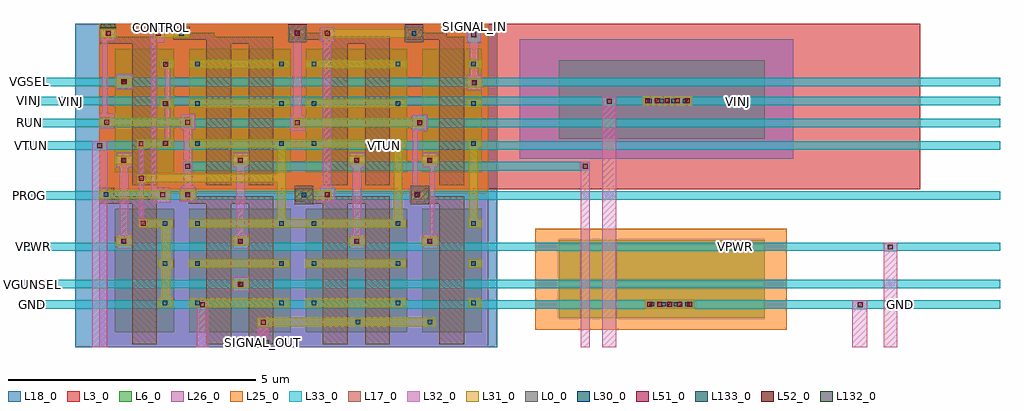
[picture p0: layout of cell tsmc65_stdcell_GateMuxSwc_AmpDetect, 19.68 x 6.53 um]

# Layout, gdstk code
import gdstk
lib = gdstk.Library(unit=1e-6, precision=1e-09)
def R(c, l, rs):  # rectangles x0, y0, x1, y1
    for r in rs: c.add(gdstk.rectangle(r[:2], r[2:], *l))
def A(c, l, x, y, w, h, nx, ny, dx, dy):  # array of equal rectangles
    R(c, l, [(x+i*dx, y+j*dy, x+i*dx+w, y+j*dy+h) for i in range(nx) for j in range(ny)])
L0_0 = (0, 0)
L3_0 = (3, 0)
L6_0 = (6, 0)
L17_0 = (17, 0)
L18_0 = (18, 0)
L25_0 = (25, 0)
L26_0 = (26, 0)
L30_0 = (30, 0)
L31_0 = (31, 0)
L32_0 = (32, 0)
L33_0 = (33, 0)
L51_0 = (51, 0)
L52_0 = (52, 0)
L132_0 = (132, 0)
L133_0 = (133, 0)

m2_m1_cdns_668273743560 = lib.new_cell('M2_M1_CDNS_668273743560')
R(m2_m1_cdns_668273743560, L31_0, [(-0.09,-0.09,0.09,0.09)])
R(m2_m1_cdns_668273743560, L32_0, [(-0.09,-0.09,0.09,0.09)])
R(m2_m1_cdns_668273743560, L51_0, [(-0.05,-0.05,0.05,0.05)])

tsmc65_stdcell_gatemuxsw = lib.new_cell('tsmc65_stdcell_GateMuxSwc_alt')
R(tsmc65_stdcell_gatemuxsw, L0_0, [(3.94,2.89,4.31,3.26), (6.28,2.89,6.65,3.26), (3.81,6.15,4.18,6.52), (6.16,6.15,6.53,6.52)])
R(tsmc65_stdcell_gatemuxsw, L3_0, [(0,3.19,8.02,6.53)])
R(tsmc65_stdcell_gatemuxsw, L6_0, [(0.31,0.31,1.51,2.8), (1.81,0.31,3.86,2.8), (4.16,0.31,6.21,2.8), (6.51,0.31,7.71,2.8), (0.31,3.53,1.51,6.02), (1.81,3.53,3.86,6.02), (4.16,3.53,6.21,6.02), (6.51,3.53,7.71,6.02)])
A(tsmc65_stdcell_gatemuxsw, L17_0, 1.62, 3.05, 0.33, 0.16, 3, 1, 2.34, 0)
R(tsmc65_stdcell_gatemuxsw, L17_0, [(0.66,0.06,1.16,2.9), (2.16,0.06,2.66,2.9), (3.01,0.06,3.51,2.9), (4.51,0.06,5.01,2.9), (5.36,0.06,5.86,2.9), (6.86,0.06,7.36,2.9), (0,2.9,1.16,2.95), (1.8,2.9,3.51,2.94), (4.15,2.9,5.86,2.94), (6.5,2.9,7.36,2.94), (1.62,2.94,3.51,3.05), (3.96,2.94,5.86,3.05), (6.3,2.94,7.36,3.05), (0,2.95,1.16,3.05), (0,3.05,0.3,3.22), (0.66,3.27,1.16,6.12), (2.16,3.27,2.66,6.12), (3.01,3.27,3.51,6.12), (4.51,3.27,5.01,6.12), (5.36,3.27,5.86,6.12), (6.86,3.27,7.36,6.12), (0.015,6.12,1.16,6.27), (2.16,6.12,3.51,6.2), (4.51,6.12,5.86,6.2), (6.86,6.12,7.36,6.2), (1.49,6.2,3.51,6.27), (3.83,6.2,5.86,6.27), (6.18,6.2,7.36,6.27), (0.015,6.27,0.345,6.47), (1.49,6.27,2.32,6.35), (3.83,6.27,4.66,6.35), (6.18,6.27,7.01,6.35), (1.49,6.35,1.82,6.47), (3.83,6.35,4.16,6.47), (6.18,6.35,6.51,6.47)])
R(tsmc65_stdcell_gatemuxsw, L18_0, [(0,0,8.02,6.53)])
R(tsmc65_stdcell_gatemuxsw, L25_0, [(0,3.11,7.84,6.53)])
R(tsmc65_stdcell_gatemuxsw, L26_0, [(0,0,7.84,3.11)])
A(tsmc65_stdcell_gatemuxsw, L30_0, 6.62, 0.47, 0.09, 0.09, 1, 3, 0, 1.63)
A(tsmc65_stdcell_gatemuxsw, L30_0, 1.28, 0.85, 0.09, 0.09, 1, 3, 0, 0.8)
A(tsmc65_stdcell_gatemuxsw, L30_0, 1.93, 0.85, 0.09, 0.09, 1, 3, 0, 0.8)
A(tsmc65_stdcell_gatemuxsw, L30_0, 3.63, 0.85, 0.09, 0.09, 1, 3, 0, 0.8)
A(tsmc65_stdcell_gatemuxsw, L30_0, 4.28, 0.85, 0.09, 0.09, 1, 3, 0, 0.8)
A(tsmc65_stdcell_gatemuxsw, L30_0, 5.98, 0.85, 0.09, 0.09, 1, 3, 0, 0.8)
A(tsmc65_stdcell_gatemuxsw, L30_0, 7.505, 0.85, 0.09, 0.09, 1, 3, 0, 0.8)
A(tsmc65_stdcell_gatemuxsw, L30_0, 0.45, 2.1, 0.09, 0.09, 3, 2, 2.35, 1.63)
A(tsmc65_stdcell_gatemuxsw, L30_0, 1.93, 4.07, 0.09, 0.09, 1, 3, 0, 0.8)
A(tsmc65_stdcell_gatemuxsw, L30_0, 3.63, 4.07, 0.09, 0.09, 1, 3, 0, 0.8)
A(tsmc65_stdcell_gatemuxsw, L30_0, 4.28, 4.07, 0.09, 0.09, 1, 3, 0, 0.8)
A(tsmc65_stdcell_gatemuxsw, L30_0, 5.98, 4.07, 0.09, 0.09, 1, 3, 0, 0.8)
A(tsmc65_stdcell_gatemuxsw, L30_0, 7.505, 4.07, 0.09, 0.09, 1, 3, 0, 0.8)
R(tsmc65_stdcell_gatemuxsw, L30_0, [(5.17,0.47,5.26,0.56), (2.8,1.23,2.89,1.32), (1.74,3.03,1.83,3.12), (4.08,3.03,4.17,3.12), (6.37,3.03,6.46,3.12), (0.09,3.04,0.18,3.13), (1.28,4.07,1.37,4.16), (1.28,4.87,1.37,4.96), (7.515,5.29,7.605,5.38), (0.45,5.31,0.54,5.4), (1.29,5.665,1.38,5.755), (0.135,6.29,0.225,6.38), (1.61,6.29,1.7,6.38), (3.95,6.29,4.04,6.38), (6.3,6.29,6.39,6.38)])
A(tsmc65_stdcell_gatemuxsw, L31_0, 0.33, 2.06, 0.33, 0.17, 3, 2, 2.35, 1.63)
R(tsmc65_stdcell_gatemuxsw, L31_0, [(4.99,0.43,6.77,0.6), (1.185,0.81,1.49,0.98), (1.81,0.81,3.84,0.98), (4.16,0.81,6.19,0.98), (7.445,0.81,7.715,0.98), (1.255,0.98,1.425,1.61), (2.68,1.19,3.01,1.36), (1.19,1.61,1.49,1.78), (1.81,1.61,3.84,1.78), (4.16,1.61,6.19,1.78), (7.445,1.61,7.715,1.78), (1.255,1.78,1.425,2.41), (6.5,2.06,6.83,2.23), (0.795,2.41,1.49,2.58), (1.81,2.41,6.19,2.58), (7.44,2.41,7.715,2.58), (3.59,2.58,3.76,3.33), (5.94,2.58,6.11,4.03), (7.465,2.58,7.635,4.03), (1.365,2.99,1.435,3), (1.62,2.99,1.95,3.16), (3.96,2.99,4.68,3.16), (6.3,2.99,6.63,3.16), (0,3,1.435,3.16), (1.365,3.16,1.435,3.17), (0.795,3.33,3.76,3.5), (3.59,3.5,3.76,4.03), (6.5,3.69,6.83,3.86), (0.79,4.03,1.49,4.2), (1.81,4.03,6.19,4.2), (7.43,4.03,7.715,4.2), (1.425,4.2,1.49,4.21), (3.91,4.45,6.555,4.62), (0,4.46,1.875,4.63), (1.22,4.82,1.245,4.83), (1.425,4.82,1.49,4.83), (1.22,4.83,1.49,5), (1.81,4.83,3.84,5), (4.16,4.83,6.19,5), (7.41,4.83,7.715,5), (7.395,5.25,7.725,5.42), (0.33,5.27,0.66,5.44), (1.21,5.62,1.49,5.63), (1.21,5.63,1.49,5.8), (1.81,5.63,3.84,5.8), (4.16,5.63,6.19,5.8), (7.44,5.63,7.725,5.8), (0.015,6.25,0.345,6.42), (1.09,6.25,1.82,6.42), (3.83,6.25,4.16,6.42), (4.51,6.25,6.51,6.42)])
A(tsmc65_stdcell_gatemuxsw, L32_0, 0.35, 1.99, 0.3, 0.3, 3, 2, 2.35, 1.64)
A(tsmc65_stdcell_gatemuxsw, L32_0, 0.41, 2.29, 0.17, 1.34, 3, 1, 2.35, 0)
R(tsmc65_stdcell_gatemuxsw, L32_0, [(2.69,1.12,3.01,1.14), (2.7,1.12,3,1.14), (2.69,1.14,3.01,1.4), (2.69,1.4,3.01,1.42), (2.7,1.4,3,1.42), (6.52,1.99,6.82,2.29), (6.66,2.29,6.76,3.63), (0.795,2.58,0.895,3.33), (1.045,2.92,1.435,3.22), (4.45,2.92,4.75,2.93), (4.47,2.92,4.73,2.93), (6.25,2.92,6.55,3.22), (4.45,2.93,4.75,3.23), (1.63,2.94,1.93,3.24), (1.045,3.22,1.145,6.15), (6.32,3.22,6.42,4.37), (4.45,3.23,4.75,3.24), (4.47,3.23,4.73,3.24), (1.7,3.24,1.87,4.4), (4.51,3.24,4.68,6.16), (0.795,3.5,0.895,4.03), (6.52,3.63,6.82,3.93), (1.325,4.2,1.425,4.83), (3.85,4.37,4.15,4.67), (6.31,4.37,6.61,4.69), (1.63,4.4,1.93,4.7), (0,4.41,0.3,4.71), (3.91,4.67,4.08,6.16), (0.06,4.71,0.16,6.17), (1.325,5,1.425,5.63), (7.415,5.19,7.715,5.49), (0.34,5.21,0.35,5.23), (0.35,5.21,0.65,5.23), (0.65,5.21,0.66,5.23), (0.34,5.23,0.66,5.49), (0.34,5.49,0.66,5.51), (0.35,5.49,0.65,5.51), (7.475,5.49,7.645,6.15), (1.02,6.15,1.32,6.53), (7.405,6.15,7.705,6.17), (3.84,6.16,4.14,6.46), (4.44,6.16,4.74,6.46), (0.025,6.17,0.325,6.53), (7.405,6.17,7.705,6.53)])
R(tsmc65_stdcell_gatemuxsw, L33_0, [(2.69,1.14,3.01,1.19), (0,1.19,8,1.36), (2.69,1.36,3.01,1.4), (0,2.98,8,3.15), (4.44,3.14,4.76,3.21), (6.3,4.4,6.62,4.44), (0.02,4.44,8,4.61), (6.3,4.61,6.62,4.66), (0.34,5.23,0.66,5.27), (0,5.27,8,5.44), (0.34,5.44,0.66,5.49), (7.405,6.14,7.705,6.145), (7.405,6.145,7.705,6.425), (7.405,6.425,7.705,6.44)])
A(tsmc65_stdcell_gatemuxsw, L51_0, 0.445, 2.095, 0.1, 0.1, 3, 2, 2.35, 1.63)
R(tsmc65_stdcell_gatemuxsw, L51_0, [(2.795,1.225,2.895,1.325), (6.615,2.095,6.715,2.195), (1.735,3.025,1.835,3.125), (4.545,3.025,4.645,3.125), (6.365,3.025,6.465,3.125), (6.615,3.725,6.715,3.825), (3.945,4.485,4.045,4.585), (6.415,4.485,6.515,4.585), (0.095,4.495,0.195,4.595), (1.735,4.495,1.835,4.595), (7.51,5.285,7.61,5.385), (0.445,5.305,0.545,5.405), (0.13,6.285,0.23,6.385), (1.135,6.285,1.235,6.385), (3.945,6.285,4.045,6.385), (4.545,6.285,4.645,6.385)])
R(tsmc65_stdcell_gatemuxsw, L52_0, [(2.8,1.22,2.9,1.32), (4.55,3.03,4.65,3.13), (6.41,4.48,6.51,4.58), (0.45,5.31,0.55,5.41), (7.505,6.26,7.605,6.36)])
tsmc65_stdcell_gatemuxsw.add(gdstk.Reference(m2_m1_cdns_668273743560, (1.335,4.12)))
tsmc65_stdcell_gatemuxsw.add(gdstk.Reference(m2_m1_cdns_668273743560, (1.335,5.71)))
tsmc65_stdcell_gatemuxsw.add(gdstk.Reference(m2_m1_cdns_668273743560, (1.335,4.91)))
tsmc65_stdcell_gatemuxsw.add(gdstk.Reference(m2_m1_cdns_668273743560, (0.84,4.11)))
tsmc65_stdcell_gatemuxsw.add(gdstk.Reference(m2_m1_cdns_668273743560, (0.845,3.415)))
tsmc65_stdcell_gatemuxsw.add(gdstk.Reference(m2_m1_cdns_668273743560, (0.885,2.5)))
tsmc65_stdcell_gatemuxsw.add(gdstk.Reference(m2_m1_cdns_668273743560, (1.275,3.08)))
tsmc65_stdcell_gatemuxsw.add(gdstk.Label('Signal_IN', (7.57,6.485), layer=32, texttype=0))
tsmc65_stdcell_gatemuxsw.add(gdstk.Label('RUN', (7.785,4.53), layer=33, texttype=0))
tsmc65_stdcell_gatemuxsw.add(gdstk.Label('VGSEL', (7.815,5.35), layer=33, texttype=0))
tsmc65_stdcell_gatemuxsw.add(gdstk.Label('PROG', (7.72,3.07), layer=33, texttype=0))
tsmc65_stdcell_gatemuxsw.add(gdstk.Label('RUN', (0.245,4.53), layer=33, texttype=0))
tsmc65_stdcell_gatemuxsw.add(gdstk.Label('PROG', (0.31,3.07), layer=33, texttype=0))
tsmc65_stdcell_gatemuxsw.add(gdstk.Label('VGUNSEL', (0.535,1.275), layer=33, texttype=0))
tsmc65_stdcell_gatemuxsw.add(gdstk.Label('VGUNSEL', (7.66,1.275), layer=33, texttype=0))
tsmc65_stdcell_gatemuxsw.add(gdstk.Label('VGSEL', (0.375,5.35), layer=33, texttype=0))

m3_m2_cdns_668273743561 = lib.new_cell('M3_M2_CDNS_668273743561')
R(m3_m2_cdns_668273743561, L32_0, [(-0.09,-0.09,0.09,0.09)])
R(m3_m2_cdns_668273743561, L33_0, [(-0.09,-0.09,0.09,0.09)])
R(m3_m2_cdns_668273743561, L52_0, [(-0.05,-0.05,0.05,0.05)])

m3_m2_cdns_668273743562 = lib.new_cell('M3_M2_CDNS_668273743562')
R(m3_m2_cdns_668273743562, L32_0, [(-0.49,-0.09,0.49,0.09)])
R(m3_m2_cdns_668273743562, L33_0, [(-0.49,-0.09,0.49,0.09)])
A(m3_m2_cdns_668273743562, L52_0, -0.45, -0.05, 0.1, 0.1, 5, 1, 0.2, 0)

m2_m1_cdns_668273743563 = lib.new_cell('M2_M1_CDNS_668273743563')
R(m2_m1_cdns_668273743563, L31_0, [(-0.49,-0.09,0.49,0.09)])
R(m2_m1_cdns_668273743563, L32_0, [(-0.49,-0.09,0.49,0.09)])
A(m2_m1_cdns_668273743563, L51_0, -0.45, -0.05, 0.1, 0.1, 5, 1, 0.2, 0)

m1_od_cdns_668273743564 = lib.new_cell('M1_OD_CDNS_668273743564')
R(m1_od_cdns_668273743564, L6_0, [(-0.45,-0.075,0.45,0.075)])
A(m1_od_cdns_668273743564, L30_0, -0.405, -0.045, 0.09, 0.09, 4, 1, 0.24, 0)
R(m1_od_cdns_668273743564, L31_0, [(-0.49,-0.09,0.49,0.09)])

c_tsmc65_stdcell_gatemuxsw = lib.new_cell('tsmc65_stdcell_GateMuxSwc_AmpDetect')
R(c_tsmc65_stdcell_gatemuxsw, L3_0, [(9.54,3.19,18.075,6.53)])
R(c_tsmc65_stdcell_gatemuxsw, L6_0, [(10.79,0.585,14.945,2.17), (10.79,4.21,14.945,5.795)])
R(c_tsmc65_stdcell_gatemuxsw, L18_0, [(1.03,0,1.52,6.53)])
R(c_tsmc65_stdcell_gatemuxsw, L25_0, [(10.31,0.355,15.385,2.395)])
R(c_tsmc65_stdcell_gatemuxsw, L26_0, [(10,3.8,15.52,6.21)])
R(c_tsmc65_stdcell_gatemuxsw, L31_0, [(4.705,0.42,4.935,0.43), (4.705,0.43,6.51,0.6)])
R(c_tsmc65_stdcell_gatemuxsw, L32_0, [(1.375,0,1.675,4.16), (3.485,0,3.715,0.95), (4.705,0,4.935,0.6), (11.225,0,11.415,3.745), (11.665,0,11.945,5.05), (16.71,0,17.01,0.95), (17.34,0,17.61,2.115)])
R(c_tsmc65_stdcell_gatemuxsw, L33_0, [(3.485,0.77,3.715,0.78), (16.71,0.77,17.01,0.78), (0,0.78,19.685,0.95), (0,1.19,19.685,1.36), (17.34,1.935,17.61,1.945), (0,1.945,19.685,2.115), (0,2.98,19.685,3.15), (3.215,3.565,11.415,3.745), (0,3.99,7.535,4.16), (2.825,3.99,19.685,4.16), (0,4.44,19.685,4.61), (0,4.88,19.685,5.05), (0,5.27,19.685,5.44)])
R(c_tsmc65_stdcell_gatemuxsw, L132_0, [(4.705,0,4.935,0.14), (2.54,6.425,2.84,6.53), (8.925,6.425,9.225,6.53), (1.545,6.435,1.845,6.53)])
R(c_tsmc65_stdcell_gatemuxsw, L133_0, [(0,0.78,0.245,0.95), (0,1.19,0.27,1.36), (0,1.95,0.285,2.115), (0,2.98,0.2,3.15), (0,3.99,0.31,4.16), (0,4.44,0.215,4.61), (0,4.88,0.255,5.05), (0,5.27,0.255,5.44)])
c_tsmc65_stdcell_gatemuxsw.add(gdstk.Reference(tsmc65_stdcell_gatemuxsw, (1.52,0)))
c_tsmc65_stdcell_gatemuxsw.add(gdstk.Reference(m2_m1_cdns_668273743560, (4.825,0.51)))
c_tsmc65_stdcell_gatemuxsw.add(gdstk.Reference(m3_m2_cdns_668273743561, (17.475,2.025)))
c_tsmc65_stdcell_gatemuxsw.add(gdstk.Reference(m3_m2_cdns_668273743561, (16.865,0.86)))
c_tsmc65_stdcell_gatemuxsw.add(gdstk.Reference(m3_m2_cdns_668273743561, (11.805,4.96)))
c_tsmc65_stdcell_gatemuxsw.add(gdstk.Reference(m3_m2_cdns_668273743561, (11.32,3.655)))
c_tsmc65_stdcell_gatemuxsw.add(gdstk.Reference(m3_m2_cdns_668273743561, (3.305,3.655)))
c_tsmc65_stdcell_gatemuxsw.add(gdstk.Reference(m3_m2_cdns_668273743561, (3.6,0.86)))
c_tsmc65_stdcell_gatemuxsw.add(gdstk.Reference(m3_m2_cdns_668273743561, (1.525,4.07)))
c_tsmc65_stdcell_gatemuxsw.add(gdstk.Reference(m3_m2_cdns_668273743562, (13.025,0.87)))
c_tsmc65_stdcell_gatemuxsw.add(gdstk.Reference(m3_m2_cdns_668273743562, (12.975,4.97)))
c_tsmc65_stdcell_gatemuxsw.add(gdstk.Reference(m2_m1_cdns_668273743563, (13.025,0.87)))
c_tsmc65_stdcell_gatemuxsw.add(gdstk.Reference(m2_m1_cdns_668273743563, (12.975,4.97)))
c_tsmc65_stdcell_gatemuxsw.add(gdstk.Reference(m1_od_cdns_668273743564, (13.025,0.87)))
c_tsmc65_stdcell_gatemuxsw.add(gdstk.Reference(m1_od_cdns_668273743564, (12.975,4.97)))
c_tsmc65_stdcell_gatemuxsw.add(gdstk.Label('GND', (17.685,0.865), layer=33, texttype=0))
c_tsmc65_stdcell_gatemuxsw.add(gdstk.Label('GND', (0.165,0.87), layer=33, texttype=0))
c_tsmc65_stdcell_gatemuxsw.add(gdstk.Label('VPWR', (14.345,2.025), layer=33, texttype=0))
c_tsmc65_stdcell_gatemuxsw.add(gdstk.Label('VPWR', (0.2,2.03), layer=33, texttype=0))
c_tsmc65_stdcell_gatemuxsw.add(gdstk.Label('VINJ', (14.41,4.96), layer=33, texttype=0))
c_tsmc65_stdcell_gatemuxsw.add(gdstk.Label('VINJ', (0.965,4.96), layer=33, texttype=0))
c_tsmc65_stdcell_gatemuxsw.add(gdstk.Label('VTUN', (0.145,4.075), layer=33, texttype=0))
c_tsmc65_stdcell_gatemuxsw.add(gdstk.Label('VTUN', (7.27,4.08), layer=33, texttype=0))
c_tsmc65_stdcell_gatemuxsw.add(gdstk.Label('SIGNAL_OUT', (4.81,0.095), layer=132, texttype=0))
c_tsmc65_stdcell_gatemuxsw.add(gdstk.Label('SIGNAL_IN', (9.085,6.47), layer=132, texttype=0))
c_tsmc65_stdcell_gatemuxsw.add(gdstk.Label('CONTROL', (2.765,6.46), layer=132, texttype=0))
c_tsmc65_stdcell_gatemuxsw.add(gdstk.Label('CONTROLB', (1.655,6.455), layer=132, texttype=0))
c_tsmc65_stdcell_gatemuxsw.add(gdstk.Label('GND', (0.165,0.87), layer=133, texttype=0))
c_tsmc65_stdcell_gatemuxsw.add(gdstk.Label('VGUNSEL', (0.18,1.27), layer=133, texttype=0))
c_tsmc65_stdcell_gatemuxsw.add(gdstk.Label('VPWR', (0.2,2.03), layer=133, texttype=0))
c_tsmc65_stdcell_gatemuxsw.add(gdstk.Label('PROG', (0.115,3.065), layer=133, texttype=0))
c_tsmc65_stdcell_gatemuxsw.add(gdstk.Label('VTUN', (0.31,4.075), layer=133, texttype=0))
c_tsmc65_stdcell_gatemuxsw.add(gdstk.Label('RUN', (0.105,4.53), layer=133, texttype=0))
c_tsmc65_stdcell_gatemuxsw.add(gdstk.Label('VINJ', (0.12,4.97), layer=133, texttype=0))
c_tsmc65_stdcell_gatemuxsw.add(gdstk.Label('VGSEL', (0.12,5.355), layer=133, texttype=0))

lib.write_gds('tsmc65_stdcell_GateMuxSwc_AmpDetect.gds')
